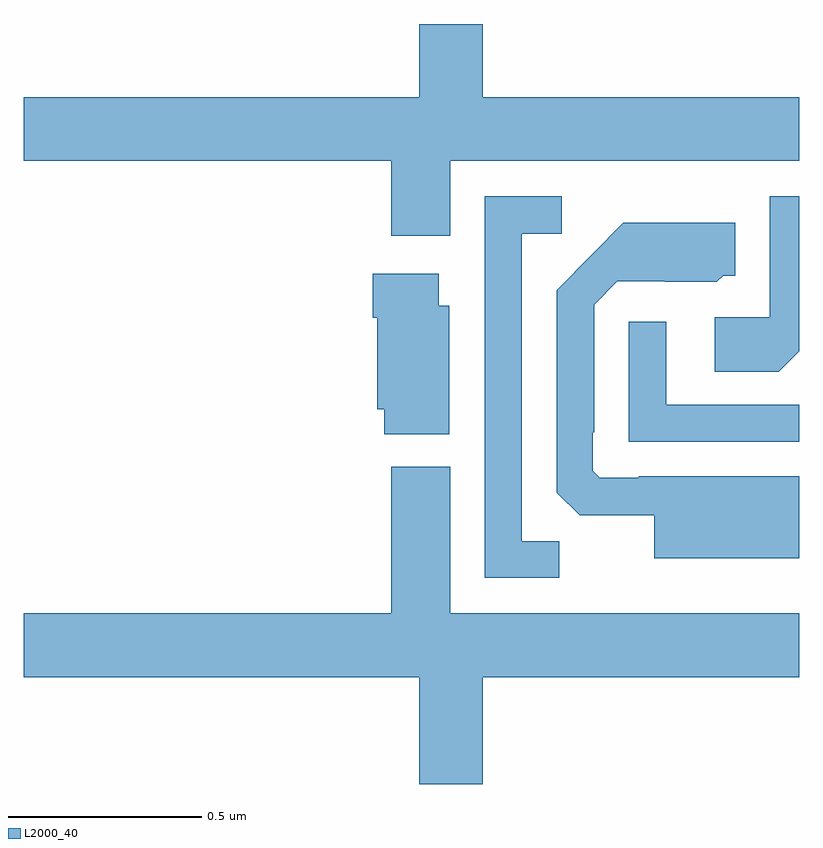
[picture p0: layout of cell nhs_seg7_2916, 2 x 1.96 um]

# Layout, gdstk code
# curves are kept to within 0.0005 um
import gdstk
lib = gdstk.Library(unit=1e-6, precision=1e-09)
def P(c, l, *ps):  # polygons
    for p in ps: c.add(gdstk.Polygon(p, *l))
L2000_40 = (2000, 40)

nhs_seg7_2916 = lib.new_cell('nhs_seg7_2916')
P(nhs_seg7_2916, L2000_40, [(153.1,1008.608),(154,1008.608),(154,1008.772),(153.184,1008.772),(153.184,1008.961),(153.02,1008.961),(153.02,1008.772),(152,1008.772),(152,1008.608),(152.948,1008.608),(152.948,1008.414),(153.1,1008.414)],
  [(154,1008.117),(154,1008.516),(153.924,1008.516),(153.924,1008.204),(153.783,1008.204),(153.783,1008.064),(153.947,1008.064)],
  [(153.381,1007.627),(153.285,1007.627),(153.285,1008.42),(153.388,1008.42),(153.388,1008.516),(153.189,1008.516),(153.189,1007.532),(153.381,1007.532)],
  [(154,1007.794),(153.586,1007.794),(153.586,1007.79),(153.486,1007.79),(153.468,1007.808),(153.468,1007.908),(153.471,1007.908),(153.471,1008.237),(153.531,1008.297),(153.654,1008.297),(153.654,1008.296),(153.788,1008.296),(153.804,1008.312),(153.835,1008.312),(153.835,1008.448),(153.547,1008.448),(153.375,1008.274),(153.375,1007.752),(153.434,1007.693),(153.626,1007.693),(153.626,1007.582),(154,1007.582)],
  [(153.097,1008.234),(153.07,1008.234),(153.07,1008.316),(152.9,1008.316),(152.9,1008.203),(152.912,1008.203),(152.912,1007.967),(152.93,1007.967),(152.93,1007.903),(153.097,1007.903)],
  [(154,1007.979),(153.657,1007.979),(153.657,1008.193),(153.561,1008.193),(153.561,1007.883),(154,1007.883)],
  [(153.1,1007.818),(152.948,1007.818),(152.948,1007.44),(152,1007.44),(152,1007.276),(153.02,1007.276),(153.02,1007),(153.184,1007),(153.184,1007.276),(154,1007.276),(154,1007.44),(153.1,1007.44)])

lib.write_gds('nhs_seg7_2916.gds')
